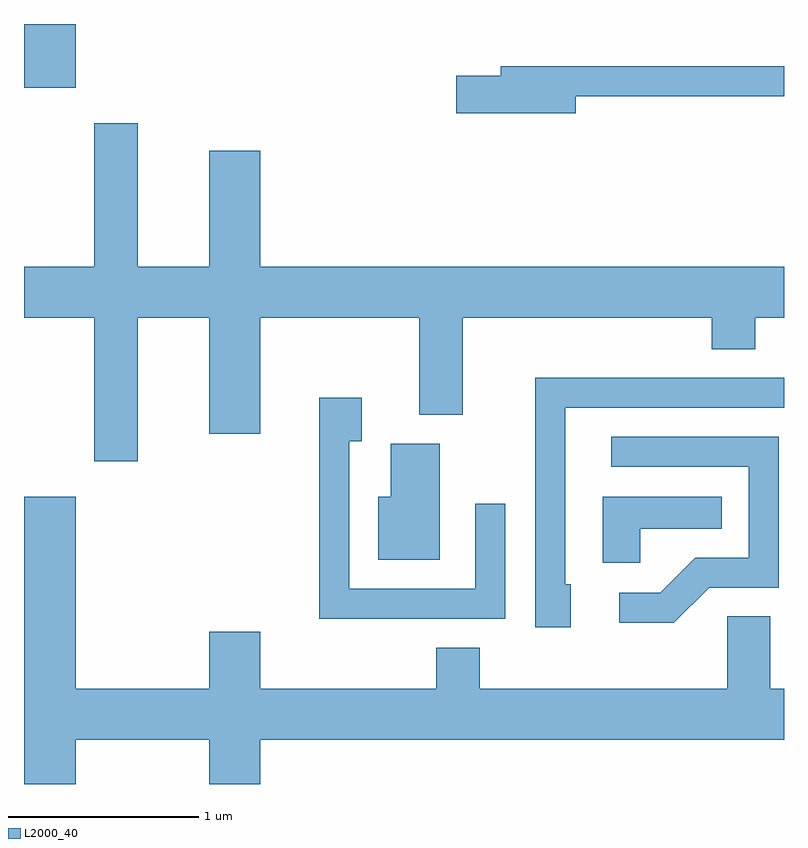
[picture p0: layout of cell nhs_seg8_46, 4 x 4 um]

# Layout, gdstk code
import gdstk
lib = gdstk.Library(unit=1e-6, precision=1e-09)
def R(c, l, rs):  # rectangles x0, y0, x1, y1
    for r in rs: c.add(gdstk.rectangle(r[:2], r[2:], *l))
def P(c, l, *ps):  # polygons
    for p in ps: c.add(gdstk.Polygon(p, *l))
L2000_40 = (2000, 40)

nhs_seg8_46 = lib.new_cell('nhs_seg8_46')
R(nhs_seg8_46, L2000_40, [(185.611,1902.006,185.884,1902.342)])
P(nhs_seg8_46, L2000_40, [(188.514,1901.961),(189.611,1901.961),(189.611,1902.119),(188.121,1902.119),(188.121,1902.069),(187.886,1902.069),(187.886,1901.871),(188.514,1901.871)],
  [(186.209,1900.796),(186.586,1900.796),(186.586,1900.186),(186.854,1900.186),(186.854,1900.796),(187.691,1900.796),(187.691,1900.286),(187.919,1900.286),(187.919,1900.796),(189.231,1900.796),(189.231,1900.631),(189.459,1900.631),(189.459,1900.796),(189.611,1900.796),(189.611,1901.064),(186.854,1901.064),(186.854,1901.674),(186.586,1901.674),(186.586,1901.064),(186.209,1901.064),(186.209,1901.819),(185.981,1901.819),(185.981,1901.064),(185.611,1901.064),(185.611,1900.796),(185.981,1900.796),(185.981,1900.041),(186.209,1900.041)],
  [(188.489,1899.394),(188.459,1899.394),(188.459,1900.321),(189.611,1900.321),(189.611,1900.479),(188.301,1900.479),(188.301,1899.166),(188.489,1899.166)],
  [(188.144,1899.818),(187.986,1899.818),(187.986,1899.369),(187.324,1899.369),(187.324,1900.146),(187.389,1900.146),(187.389,1900.374),(187.166,1900.374),(187.166,1899.211),(188.144,1899.211)],
  [(189.217,1899.376),(189.584,1899.376),(189.584,1900.169),(188.703,1900.169),(188.703,1900.011),(189.426,1900.011),(189.426,1899.534),(189.144,1899.534),(188.959,1899.349),(188.743,1899.349),(188.743,1899.191),(189.032,1899.191)],
  [(187.799,1900.134),(187.541,1900.134),(187.541,1899.854),(187.476,1899.854),(187.476,1899.521),(187.799,1899.521)],
  [(185.884,1898.576),(186.586,1898.576),(186.586,1898.342),(186.854,1898.342),(186.854,1898.576),(189.611,1898.576),(189.611,1898.844),(189.539,1898.844),(189.539,1899.224),(189.311,1899.224),(189.311,1898.844),(188.009,1898.844),(188.009,1899.059),(187.781,1899.059),(187.781,1898.844),(186.854,1898.844),(186.854,1899.144),(186.586,1899.144),(186.586,1898.844),(185.884,1898.844),(185.884,1899.854),(185.611,1899.854),(185.611,1898.342),(185.884,1898.342)],
  [(188.854,1899.686),(189.283,1899.686),(189.283,1899.854),(188.656,1899.854),(188.656,1899.506),(188.854,1899.506)])

lib.write_gds('nhs_seg8_46.gds')
